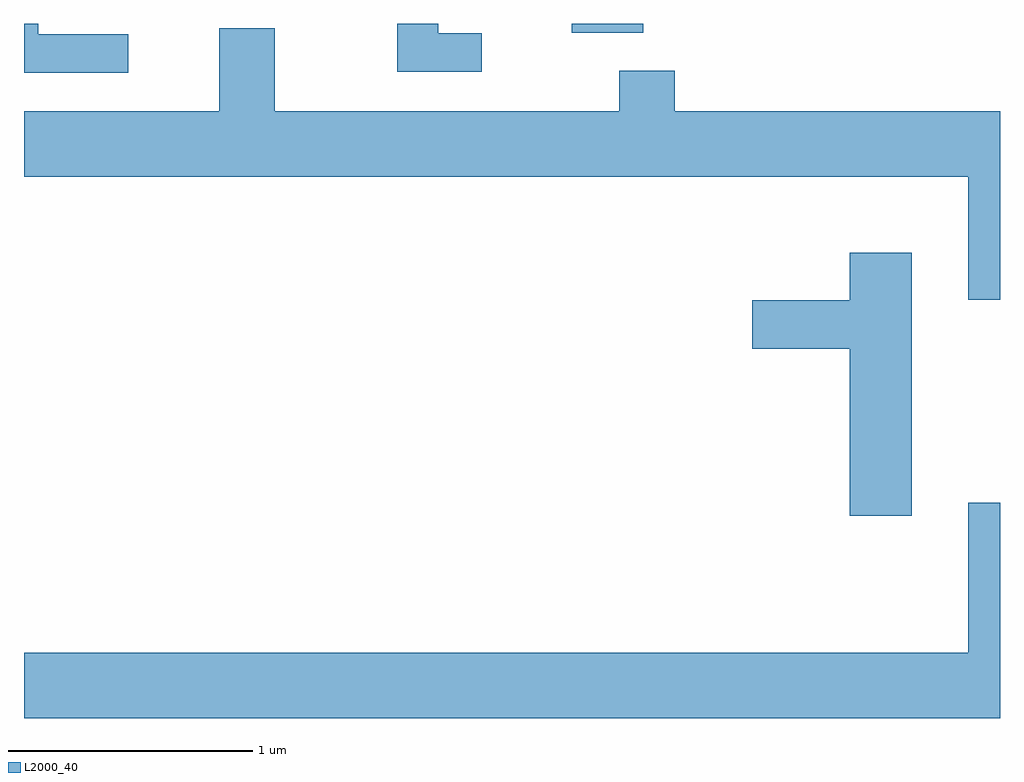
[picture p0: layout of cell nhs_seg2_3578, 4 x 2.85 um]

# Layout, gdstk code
import gdstk
lib = gdstk.Library(unit=1e-6, precision=1e-09)
def R(c, l, rs):  # rectangles x0, y0, x1, y1
    for r in rs: c.add(gdstk.rectangle(r[:2], r[2:], *l))
def P(c, l, *ps):  # polygons
    for p in ps: c.add(gdstk.Polygon(p, *l))
L2000_40 = (2000, 40)

nhs_seg2_3578 = lib.new_cell('nhs_seg2_3578')
R(nhs_seg2_3578, L2000_40, [(291.856,1077.766,292.149,1077.802)])
P(nhs_seg2_3578, L2000_40, [(291.488,1077.764),(291.309,1077.764),(291.309,1077.802),(291.141,1077.802),(291.141,1077.606),(291.488,1077.606)],
  [(290.038,1077.759),(289.669,1077.759),(289.669,1077.802),(289.611,1077.802),(289.611,1077.601),(290.038,1077.601)],
  [(293.611,1077.444),(292.279,1077.444),(292.279,1077.609),(292.051,1077.609),(292.051,1077.444),(290.639,1077.444),(290.639,1077.784),(290.411,1077.784),(290.411,1077.444),(289.611,1077.444),(289.611,1077.176),(293.481,1077.176),(293.481,1076.671),(293.611,1076.671)],
  [(293.249,1076.864),(292.996,1076.864),(292.996,1076.669),(292.596,1076.669),(292.596,1076.471),(292.996,1076.471),(292.996,1075.786),(293.249,1075.786)],
  [(293.611,1075.839),(293.481,1075.839),(293.481,1075.224),(289.611,1075.224),(289.611,1074.956),(293.611,1074.956)])

lib.write_gds('nhs_seg2_3578.gds')
